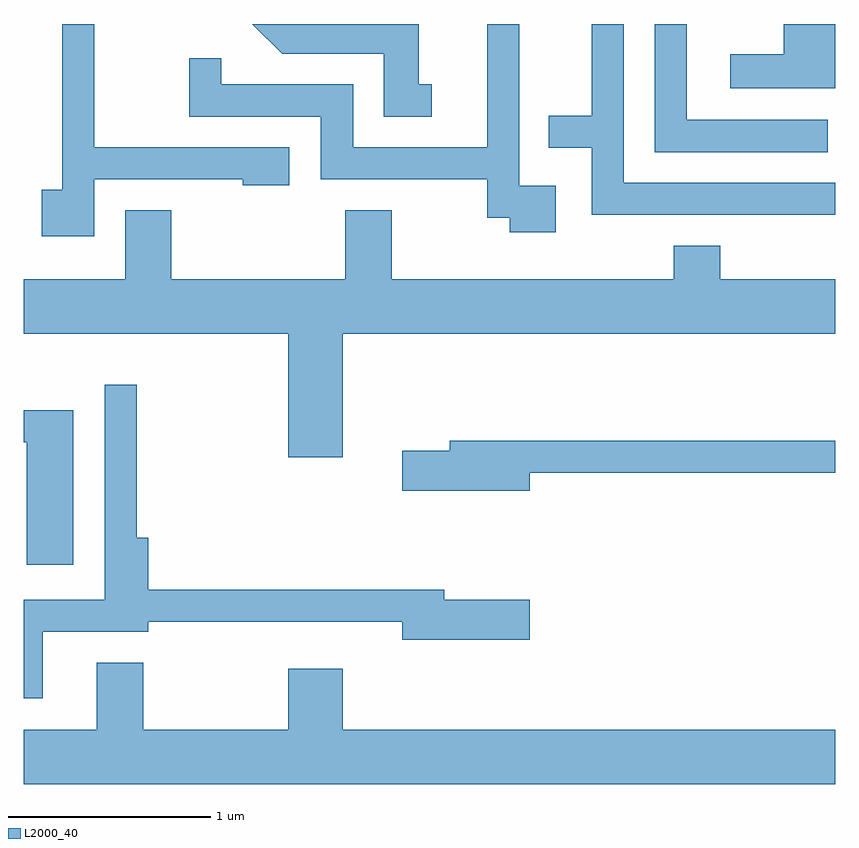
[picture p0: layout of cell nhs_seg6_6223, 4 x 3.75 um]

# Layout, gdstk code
import gdstk
lib = gdstk.Library(unit=1e-6, precision=1e-09)
def P(c, l, *ps):  # polygons
    for p in ps: c.add(gdstk.Polygon(p, *l))
L2000_40 = (2000, 40)

nhs_seg6_6223 = lib.new_cell('nhs_seg6_6223')
P(nhs_seg6_6223, L2000_40, [(373.959,1617.396),(374.691,1617.396),(374.691,1617.366),(374.919,1617.366),(374.919,1617.554),(373.959,1617.554),(373.959,1618.162),(373.801,1618.162),(373.801,1617.344),(373.701,1617.344),(373.701,1617.116),(373.959,1617.116)],
  [(375.623,1617.864),(375.559,1617.864),(375.559,1618.162),(374.738,1618.162),(374.884,1618.016),(375.386,1618.016),(375.386,1617.706),(375.623,1617.706)],
  [(377.611,1617.379),(376.569,1617.379),(376.569,1618.162),(376.411,1618.162),(376.411,1617.709),(376.198,1617.709),(376.198,1617.551),(376.411,1617.551),(376.411,1617.221),(377.611,1617.221)],
  [(376.234,1617.364),(376.054,1617.364),(376.054,1618.162),(375.896,1618.162),(375.896,1617.554),(375.234,1617.554),(375.234,1617.864),(374.584,1617.864),(374.584,1617.993),(374.426,1617.993),(374.426,1617.706),(375.076,1617.706),(375.076,1617.396),(375.896,1617.396),(375.896,1617.206),(376.006,1617.206),(376.006,1617.136),(376.234,1617.136)],
  [(377.611,1618.162),(377.356,1618.162),(377.356,1618.014),(377.093,1618.014),(377.093,1617.846),(377.611,1617.846)],
  [(377.573,1617.689),(376.879,1617.689),(376.879,1618.162),(376.721,1618.162),(376.721,1617.531),(377.573,1617.531)],
  [(375.184,1616.636),(377.611,1616.636),(377.611,1616.904),(377.044,1616.904),(377.044,1617.069),(376.816,1617.069),(376.816,1616.904),(375.424,1616.904),(375.424,1617.244),(375.196,1617.244),(375.196,1616.904),(374.339,1616.904),(374.339,1617.244),(374.111,1617.244),(374.111,1616.904),(373.611,1616.904),(373.611,1616.636),(374.916,1616.636),(374.916,1616.026),(375.184,1616.026)],
  [(373.704,1615.166),(374.224,1615.166),(374.224,1615.216),(375.476,1615.216),(375.476,1615.126),(376.104,1615.126),(376.104,1615.324),(375.684,1615.324),(375.684,1615.374),(374.224,1615.374),(374.224,1615.629),(374.169,1615.629),(374.169,1616.383),(374.011,1616.383),(374.011,1615.324),(373.611,1615.324),(373.611,1614.838),(373.704,1614.838)],
  [(373.854,1616.259),(373.611,1616.259),(373.611,1616.101),(373.626,1616.101),(373.626,1615.496),(373.854,1615.496)],
  [(376.104,1615.951),(377.611,1615.951),(377.611,1616.109),(375.711,1616.109),(375.711,1616.059),(375.476,1616.059),(375.476,1615.861),(376.104,1615.861)],
  [(377.611,1614.684),(375.184,1614.684),(375.184,1614.984),(374.916,1614.984),(374.916,1614.684),(374.199,1614.684),(374.199,1615.014),(373.971,1615.014),(373.971,1614.684),(373.611,1614.684),(373.611,1614.416),(377.611,1614.416)])

lib.write_gds('nhs_seg6_6223.gds')
